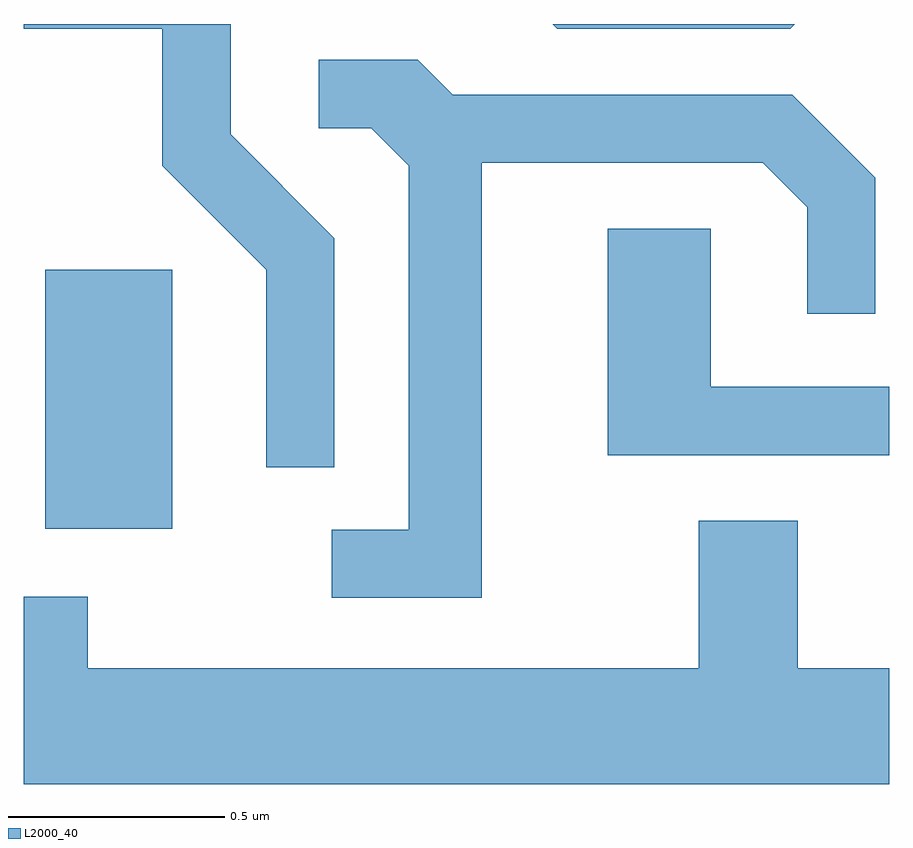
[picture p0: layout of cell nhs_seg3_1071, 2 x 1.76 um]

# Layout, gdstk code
import gdstk
lib = gdstk.Library(unit=1e-6, precision=1e-09)
def R(c, l, rs):  # rectangles x0, y0, x1, y1
    for r in rs: c.add(gdstk.rectangle(r[:2], r[2:], *l))
def P(c, l, *ps):  # polygons
    for p in ps: c.add(gdstk.Polygon(p, *l))
L2000_40 = (2000, 40)

nhs_seg3_1071 = lib.new_cell('nhs_seg3_1071')
R(nhs_seg3_1071, L2000_40, [(192.661,1228.726,192.954,1229.324)])
P(nhs_seg3_1071, L2000_40, [(193.329,1229.397),(193.089,1229.637),(193.089,1229.892),(192.611,1229.892),(192.611,1229.881),(192.931,1229.881),(192.931,1229.564),(193.171,1229.324),(193.171,1228.868),(193.329,1228.868)],
  [(194.393,1229.892),(193.833,1229.892),(193.844,1229.881),(194.382,1229.881)],
  [(193.669,1229.571),(194.319,1229.571),(194.421,1229.469),(194.421,1229.223),(194.579,1229.223),(194.579,1229.537),(194.387,1229.729),(193.602,1229.729),(193.522,1229.809),(193.293,1229.809),(193.293,1229.651),(193.414,1229.651),(193.501,1229.564),(193.501,1228.724),(193.323,1228.724),(193.323,1228.566),(193.669,1228.566)],
  [(194.611,1229.054),(194.199,1229.054),(194.199,1229.419),(193.961,1229.419),(193.961,1228.896),(194.611,1228.896)],
  [(194.611,1228.404),(194.399,1228.404),(194.399,1228.744),(194.171,1228.744),(194.171,1228.404),(192.759,1228.404),(192.759,1228.569),(192.611,1228.569),(192.611,1228.136),(194.611,1228.136)])

lib.write_gds('nhs_seg3_1071.gds')
